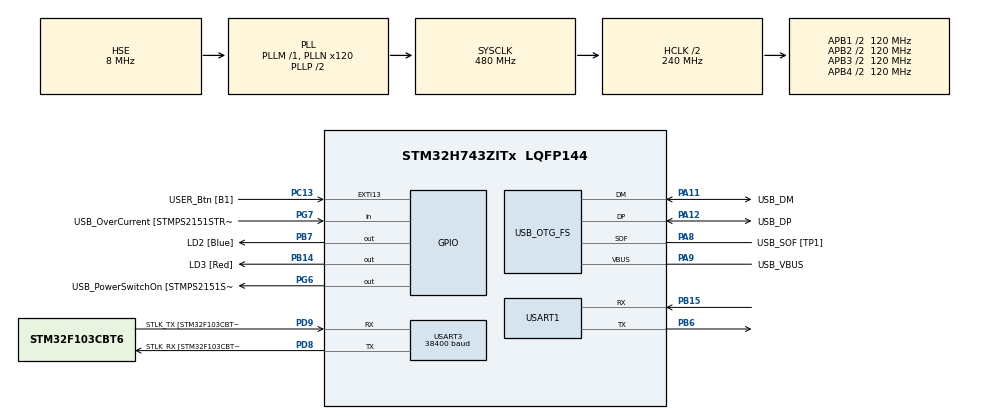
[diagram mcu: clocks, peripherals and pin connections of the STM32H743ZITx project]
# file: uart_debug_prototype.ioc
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Dma.Request0=USART3_TX
Dma.Request1=USART1_TX
Dma.USART1_TX.1.Direction=DMA_MEMORY_TO_PERIPH
Dma.USART1_TX.1.EventEnable=DISABLE
Dma.USART1_TX.1.FIFOMode=DMA_FIFOMODE_DISABLE
Dma.USART1_TX.1.Instance=DMA1_Stream1
Dma.USART1_TX.1.MemDataAlignment=DMA_MDATAALIGN_BYTE
Dma.USART1_TX.1.MemInc=DMA_MINC_ENABLE
Dma.USART1_TX.1.Mode=DMA_NORMAL
Dma.USART1_TX.1.PeriphDataAlignment=DMA_PDATAALIGN_BYTE
Dma.USART1_TX.1.PeriphInc=DMA_PINC_DISABLE
Dma.USART1_TX.1.Polarity=HAL_DMAMUX_REQ_GEN_RISING
Dma.USART1_TX.1.Priority=DMA_PRIORITY_LOW
Dma.USART1_TX.1.RequestNumber=1
Dma.USART1_TX.1.SignalID=NONE
Dma.USART1_TX.1.SyncEnable=DISABLE
Dma.USART1_TX.1.SyncPolarity=HAL_DMAMUX_SYNC_NO_EVENT
Dma.USART1_TX.1.SyncRequestNumber=1
Dma.USART1_TX.1.SyncSignalID=NONE
Dma.USART3_TX.0.Direction=DMA_MEMORY_TO_PERIPH
Dma.USART3_TX.0.EventEnable=DISABLE
Dma.USART3_TX.0.FIFOMode=DMA_FIFOMODE_ENABLE
Dma.USART3_TX.0.FIFOThreshold=DMA_FIFO_THRESHOLD_FULL
Dma.USART3_TX.0.Instance=DMA1_Stream0
Dma.USART3_TX.0.MemBurst=DMA_MBURST_SINGLE
Dma.USART3_TX.0.MemDataAlignment=DMA_MDATAALIGN_BYTE
Dma.USART3_TX.0.MemInc=DMA_MINC_ENABLE
Dma.USART3_TX.0.Mode=DMA_NORMAL
Dma.USART3_TX.0.PeriphBurst=DMA_PBURST_SINGLE
Dma.USART3_TX.0.PeriphDataAlignment=DMA_PDATAALIGN_BYTE
Dma.USART3_TX.0.PeriphInc=DMA_PINC_DISABLE
Dma.USART3_TX.0.Polarity=HAL_DMAMUX_REQ_GEN_RISING
Dma.USART3_TX.0.Priority=DMA_PRIORITY_LOW
Dma.USART3_TX.0.RequestNumber=1
Dma.USART3_TX.0.SignalID=NONE
Dma.USART3_TX.0.SyncEnable=DISABLE
Dma.USART3_TX.0.SyncPolarity=HAL_DMAMUX_SYNC_NO_EVENT
Dma.USART3_TX.0.SyncRequestNumber=1
Dma.USART3_TX.0.SyncSignalID=NONE
FREERTOS.Tasks01=defaultTask,0,128,StartDefaultTask,Default,NULL,Dynamic,NULL,NULL;pmTask,-1,512,pmTaskF,Default,NULL,Dynamic,NULL,NULL;udTask,-1,128,udTaskF,Default,NULL,Dynamic,NULL,NULL;rtTask,-1,512,rtTaskF,Default,NULL,Dynamic,NULL,NULL
FREERTOS.configGENERATE_RUN_TIME_STATS=1
FREERTOS.configUSE_STATS_FORMATTING_FUNCTIONS=1
FREERTOS.configUSE_TRACE_FACILITY=1
Mcu.Family=STM32H7
Mcu.Name=STM32H743ZITx
Mcu.Package=LQFP144
NVIC.DMA1_Stream0_IRQn=true\:5\:0\:false\:false\:true\:true\:false\:true
NVIC.DMA1_Stream1_IRQn=true\:5\:0\:false\:false\:true\:true\:false\:true
NVIC.PriorityGroup=NVIC_PRIORITYGROUP_4
NVIC.TIM16_IRQn=true\:5\:0\:false\:false\:true\:true\:true\:false
NVIC.TIM17_IRQn=true\:0\:0\:false\:false\:true\:false\:false\:true
NVIC.TimeBase=TIM17_IRQn
NVIC.TimeBaseIP=TIM17
NVIC.USART1_IRQn=true\:5\:0\:false\:false\:true\:true\:true\:true
NVIC.USART3_IRQn=true\:5\:0\:false\:false\:true\:true\:true\:true
PA10.GPIO_Label=USB_ID
PA10.Signal=USB_OTG_FS_ID
PA11.GPIO_Label=USB_DM
PA11.Mode=Device_Only
PA11.Signal=USB_OTG_FS_DM
PA12.GPIO_Label=USB_DP
PA12.Mode=Device_Only
PA12.Signal=USB_OTG_FS_DP
PA8.GPIO_Label=USB_SOF [TP1]
PA8.Mode=Activate_SOF_FS
PA8.Signal=USB_OTG_FS_SOF
PA9.GPIO_Label=USB_VBUS
PA9.Mode=Activate_VBUS
PA9.Signal=USB_OTG_FS_VBUS
PB14.GPIO_Label=LD3 [Red]
PB14.Signal=GPIO_Output
PB15.Mode=Asynchronous
PB15.Signal=USART1_RX
PB6.Mode=Asynchronous
PB6.Signal=USART1_TX
PB7.GPIO_Label=LD2 [Blue]
PB7.Signal=GPIO_Output
PC13.GPIO_Label=USER_Btn [B1]
PC13.Signal=GPXTI13
PC14-OSC32_IN\ (OSC32_IN).Mode=LSE-External-Oscillator
PC14-OSC32_IN\ (OSC32_IN).Signal=RCC_OSC32_IN
PC15-OSC32_OUT\ (OSC32_OUT).Mode=LSE-External-Oscillator
PC15-OSC32_OUT\ (OSC32_OUT).Signal=RCC_OSC32_OUT
PD8.GPIO_Label=STLK_RX [STM32F103CBT6_PA3]
PD8.Mode=Asynchronous
PD8.Signal=USART3_TX
PD9.GPIO_Label=STLK_TX [STM32F103CBT6_PA2]
PD9.Mode=Asynchronous
PD9.Signal=USART3_RX
PG6.GPIO_Label=USB_PowerSwitchOn [STMPS2151STR_EN]
PG6.Signal=GPIO_Output
PG7.GPIO_Label=USB_OverCurrent [STMPS2151STR_FAULT]
PG7.Signal=GPIO_Input
PH0-OSC_IN\ (PH0).GPIO_Label=MCO
PH0-OSC_IN\ (PH0).Mode=HSE-External-Clock-Source
PH0-OSC_IN\ (PH0).Signal=RCC_OSC_IN
PH1-OSC_OUT\ (PH1).Mode=HSE-External-Clock-Source
PH1-OSC_OUT\ (PH1).Signal=RCC_OSC_OUT
ProjectManager.HeapSize=0x200
ProjectManager.StackSize=0x400
ProjectManager.TargetToolchain=MDK-ARM V5
RCC.48MHZClocksFreq_Value=24000000
RCC.ADCFreq_Value=16125000
RCC.AHBFreq_Value=216000000
RCC.APB1CLKDivider=RCC_HCLK_DIV4
RCC.APB1Freq_Value=120000000
RCC.APB1TimFreq_Value=108000000
RCC.APB2CLKDivider=RCC_HCLK_DIV2
RCC.APB2Freq_Value=120000000
RCC.APB2TimFreq_Value=216000000
RCC.APB3Freq_Value=120000000
RCC.APB4Freq_Value=120000000
RCC.CortexFreq_Value=480000000
RCC.D1PPRE=RCC_APB3_DIV2
RCC.D2PPRE1=RCC_APB1_DIV2
RCC.D2PPRE2=RCC_APB2_DIV2
RCC.D3PPRE=RCC_APB4_DIV2
RCC.DIVM1=1
RCC.DIVN1=120
RCC.DIVQ1=20
RCC.HCLKFreq_Value=240000000
RCC.HPRE=RCC_HCLK_DIV2
RCC.HSE_VALUE=8000000
RCC.HSI_VALUE=64000000
RCC.PLLFRACN=0
RCC.PLLM=25
RCC.PLLMUL=RCC_PLL_MUL9
RCC.PLLN=432
RCC.PLLQ=9
RCC.PRESCALERUSB=RCC_USBCLKSOURCE_PLL_DIV1_5
RCC.PWR_Regulator_Voltage_Scale=PWR_REGULATOR_VOLTAGE_SCALE0
RCC.SYSCLKFreq_VALUE=480000000
RCC.SYSCLKSource=RCC_SYSCLKSOURCE_PLLCLK
RCC.SYSCLKSourceVirtual=RCC_SYSCLKSOURCE_PLLCLK
RCC.USBFreq_Value=48000000
RCC.VCOOutputFreq_Value=432000000
TIM16.Channel=TIM_CHANNEL_1
TIM16.Period=99
TIM16.Prescaler=239
USART1.VirtualMode-Asynchronous=VM_ASYNC
USART3.BaudRate=38400
USART3.VirtualMode-Asynchronous=VM_ASYNC
USB_OTG_FS.VirtualMode=Device_Only
VP_FREERTOS_VS_CMSIS_V1.Mode=CMSIS_V1
VP_SYS_VS_tim17.Mode=TIM17
VP_TIM16_VS_ClockSourceINT.Mode=Enable_Timer
VP_TIM16_VS_no_output1.Mode=Output Compare1 No Output
board=NUCLEO-H743ZI

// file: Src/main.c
/* USER CODE BEGIN Header */
/**
  ******************************************************************************
  * @file           : main.c
  * @brief          : Main program body
  ******************************************************************************
  * @attention
  *
  * <h2><center>&copy; Copyright (c) 2019 STMicroelectronics.
  * All rights reserved.</center></h2>
  *
  * This software component is licensed by ST under Ultimate Liberty license
  * SLA0044, the "License"; You may not use this file except in compliance with
  * the License. You may obtain a copy of the License at:
  *                             www.st.com/SLA0044
  *
  ******************************************************************************
  */
/* USER CODE END Header */

#include "main.h"
#include "cmsis_os.h"
#include "dma.h"
#include "tim.h"
#include "usart.h"
#include "usb_otg.h"
#include "gpio.h"

void SystemClock_Config(void);
void MX_FREERTOS_Init(void);

int main(void)
{

  /* MCU Configuration--------------------------------------------------------*/

  /* Reset of all peripherals, Initializes the Flash interface and the Systick. */
  HAL_Init();

  /* Configure the system clock */
  SystemClock_Config();

  /* Initialize all configured peripherals */
  MX_GPIO_Init();
  MX_DMA_Init();
  MX_USART3_UART_Init();
  MX_USB_OTG_FS_PCD_Init();
  MX_TIM16_Init();
  MX_USART1_UART_Init();

  /* Call init function for freertos objects (in freertos.c) */
  MX_FREERTOS_Init();

  /* Start scheduler */
  osKernelStart();

  /* We should never get here as control is now taken by the scheduler */

  /* Infinite loop */
  while (1)
  {

  }
}

void SystemClock_Config(void)
{
  RCC_OscInitTypeDef RCC_OscInitStruct = {0};
  RCC_ClkInitTypeDef RCC_ClkInitStruct = {0};
  RCC_PeriphCLKInitTypeDef PeriphClkInitStruct = {0};

  /** Supply configuration update enable
  */
  HAL_PWREx_ConfigSupply(PWR_LDO_SUPPLY);
  /** Configure the main internal regulator output voltage
  */
  __HAL_PWR_VOLTAGESCALING_CONFIG(PWR_REGULATOR_VOLTAGE_SCALE0);

  while(!__HAL_PWR_GET_FLAG(PWR_FLAG_VOSRDY)) {}
  /** Initializes the CPU, AHB and APB busses clocks
  */
  RCC_OscInitStruct.OscillatorType = RCC_OSCILLATORTYPE_HSE;
  RCC_OscInitStruct.HSEState = RCC_HSE_BYPASS;
  RCC_OscInitStruct.PLL.PLLState = RCC_PLL_ON;
  RCC_OscInitStruct.PLL.PLLSource = RCC_PLLSOURCE_HSE;
  RCC_OscInitStruct.PLL.PLLM = 1;
  RCC_OscInitStruct.PLL.PLLN = 120;
  RCC_OscInitStruct.PLL.PLLP = 2;
  RCC_OscInitStruct.PLL.PLLQ = 20;
  RCC_OscInitStruct.PLL.PLLR = 2;
  RCC_OscInitStruct.PLL.PLLRGE = RCC_PLL1VCIRANGE_3;
  RCC_OscInitStruct.PLL.PLLVCOSEL = RCC_PLL1VCOWIDE;
  RCC_OscInitStruct.PLL.PLLFRACN = 0;
  if (HAL_RCC_OscConfig(&RCC_OscInitStruct) != HAL_OK)
  {
    Error_Handler();
  }
  /** Initializes the CPU, AHB and APB busses clocks
  */
  RCC_ClkInitStruct.ClockType = RCC_CLOCKTYPE_HCLK|RCC_CLOCKTYPE_SYSCLK
                              |RCC_CLOCKTYPE_PCLK1|RCC_CLOCKTYPE_PCLK2
                              |RCC_CLOCKTYPE_D3PCLK1|RCC_CLOCKTYPE_D1PCLK1;
  RCC_ClkInitStruct.SYSCLKSource = RCC_SYSCLKSOURCE_PLLCLK;
  RCC_ClkInitStruct.SYSCLKDivider = RCC_SYSCLK_DIV1;
  RCC_ClkInitStruct.AHBCLKDivider = RCC_HCLK_DIV2;
  RCC_ClkInitStruct.APB3CLKDivider = RCC_APB3_DIV2;
  RCC_ClkInitStruct.APB1CLKDivider = RCC_APB1_DIV2;
  RCC_ClkInitStruct.APB2CLKDivider = RCC_APB2_DIV2;
  RCC_ClkInitStruct.APB4CLKDivider = RCC_APB4_DIV2;

  if (HAL_RCC_ClockConfig(&RCC_ClkInitStruct, FLASH_LATENCY_4) != HAL_OK)
  {
    Error_Handler();
  }
  PeriphClkInitStruct.PeriphClockSelection = RCC_PERIPHCLK_USART3|RCC_PERIPHCLK_USART1
                              |RCC_PERIPHCLK_USB;
  PeriphClkInitStruct.Usart234578ClockSelection = RCC_USART234578CLKSOURCE_D2PCLK1;
  PeriphClkInitStruct.Usart16ClockSelection = RCC_USART16CLKSOURCE_D2PCLK2;
  PeriphClkInitStruct.UsbClockSelection = RCC_USBCLKSOURCE_PLL;
  if (HAL_RCCEx_PeriphCLKConfig(&PeriphClkInitStruct) != HAL_OK)
  {
    Error_Handler();
  }
  /** Enable USB Voltage detector
  */
  HAL_PWREx_EnableUSBVoltageDetector();
}

void HAL_TIM_PeriodElapsedCallback(TIM_HandleTypeDef *htim)
{
  if (htim->Instance == TIM17) {
    HAL_IncTick();
  }
}

void Error_Handler(void)
{
}

/************************ (C) COPYRIGHT STMicroelectronics *****END OF FILE****/

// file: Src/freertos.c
/* USER CODE BEGIN Header */
/**
  ******************************************************************************
  * File Name          : freertos.c
  * Description        : Code for freertos applications
  ******************************************************************************
  * @attention
  *
  * <h2><center>&copy; Copyright (c) 2019 STMicroelectronics.
  * All rights reserved.</center></h2>
  *
  * This software component is licensed by ST under Ultimate Liberty license
  * SLA0044, the "License"; You may not use this file except in compliance with
  * the License. You may obtain a copy of the License at:
  *                             www.st.com/SLA0044
  *
  ******************************************************************************
  */
/* USER CODE END Header */

#include "FreeRTOS.h"
#include "task.h"
#include "main.h"
#include "cmsis_os.h"

/* USER CODE BEGIN Includes */
#include "uart_debug.h"
#include "parameter_manager.h"
/* USER CODE END Includes */

/* USER CODE BEGIN PM */
Uart_Handle_Init_DMA(huart1, 128, 8, 0x30040000);
/* USER CODE END PM */

/* USER CODE BEGIN Variables */
extern TIM_HandleTypeDef htim16;
/* USER CODE END Variables */
osThreadId defaultTaskHandle;
osThreadId pmTaskHandle;
osThreadId udTaskHandle;
osThreadId rtTaskHandle;

void StartDefaultTask(void const * argument);
void pmTaskF(void const * argument);
void udTaskF(void const * argument);
void rtTaskF(void const * argument);

void MX_FREERTOS_Init(void); /* (MISRA C 2004 rule 8.1) */

/* Hook prototypes */
void configureTimerForRunTimeStats(void);
unsigned long getRunTimeCounterValue(void);

/* USER CODE BEGIN 1 */
/* Functions needed when configGENERATE_RUN_TIME_STATS is on */
__weak void configureTimerForRunTimeStats(void)
{

}

__weak unsigned long getRunTimeCounterValue(void)
{
return 0;
}
/* USER CODE END 1 */

void MX_FREERTOS_Init(void) {

  /* Create the thread(s) */
  /* definition and creation of defaultTask */
  osThreadDef(defaultTask, StartDefaultTask, osPriorityNormal, 0, 128);
  defaultTaskHandle = osThreadCreate(osThread(defaultTask), NULL);

  /* definition and creation of pmTask */
  osThreadDef(pmTask, pmTaskF, osPriorityBelowNormal, 0, 512);
  pmTaskHandle = osThreadCreate(osThread(pmTask), NULL);

  /* definition and creation of udTask */
  osThreadDef(udTask, udTaskF, osPriorityBelowNormal, 0, 128);
  udTaskHandle = osThreadCreate(osThread(udTask), NULL);

  /* definition and creation of rtTask */
  osThreadDef(rtTask, rtTaskF, osPriorityBelowNormal, 0, 512);
  rtTaskHandle = osThreadCreate(osThread(rtTask), NULL);

}

void StartDefaultTask(void const * argument)
{

  for(;;)
  {
    osDelay(1);
  }
}

/* USER CODE BEGIN Header_pmTaskF */
/**
* @brief Function implementing the pmTask thread.
* @param argument: Not used
* @retval None
*/
typedef struct test{
	int STR1;
	float STR2;
	uint8_t STR3[10];
}test_t;
test_t teststr = {12,33.33,"sadasd"};
uint8_t STR[5][8];
/* USER CODE END Header_pmTaskF */
void pmTaskF(void const * argument)
{
  /* USER CODE BEGIN pmTaskF */
	pmNewParaGroupCreate(TestGroup);
	pmNewParaCreate(int, test1, 0, TestGroup);
	pmNewParaGroupCreate(NULLGROUP);
	pmNewParaCreate(float, test2, 0, TestGroup);
	pmNewParaGroupCreate(PGroup);
	pmNewParaGroupCreate(STRGroup);
	pmNewParaCreate(int, qtest1, 0, PGroup);
	uint8_t test5 = 4;
	pmAddPara(uint8_t, test5, &test5, PGroup);
	pmAddPara(int, STR1, &teststr.STR1,  PGroup);
	pmAddPara(float, STR2, &teststr.STR2,  PGroup);
	pmAddPara(string, STR3, &teststr.STR3,  PGroup);
	pmAddPara(string, STR_1, STR[0],  STRGroup);
	pmAddPara(string, STR_2, STR[1],  STRGroup);
	pmAddPara(string, STR_3, STR[2],  STRGroup);
	pmAddPara(string, STR_4, STR[3],  STRGroup);
	pmAddPara(string, STR_5, STR[4],  STRGroup);
	osDelay(1000);
	/* Infinite loop */
  for(;;)
  {
		pmShowUserInterface();
    osDelay(1);
  }
  /* USER CODE END pmTaskF */
}

void udTaskF(void const * argument)
{
  /* USER CODE BEGIN udTaskF */
	dLog_DisplayBuff_Init();
	ERROR("TEST");
	WARNING("TEST");
	INFO("TEST");
  /* Infinite loop */
  for(;;)
  {
		for(uint16_t iter = 0; ; iter++){
			INFO("This is %d infomation(s)", iter);
			osDelay(1000);
		}
  }
  /* USER CODE END udTaskF */
}

void rtTaskF(void const * argument)
{
  /* USER CODE BEGIN rtTaskF */
	osDelay(250);
	HAL_TIM_Base_Start_IT(&htim16);
  /* Infinite loop */
  for(;;)
  {
		rtShow();
    osDelay(5000);
  }
  /* USER CODE END rtTaskF */
}

/************************ (C) COPYRIGHT STMicroelectronics *****END OF FILE****/
